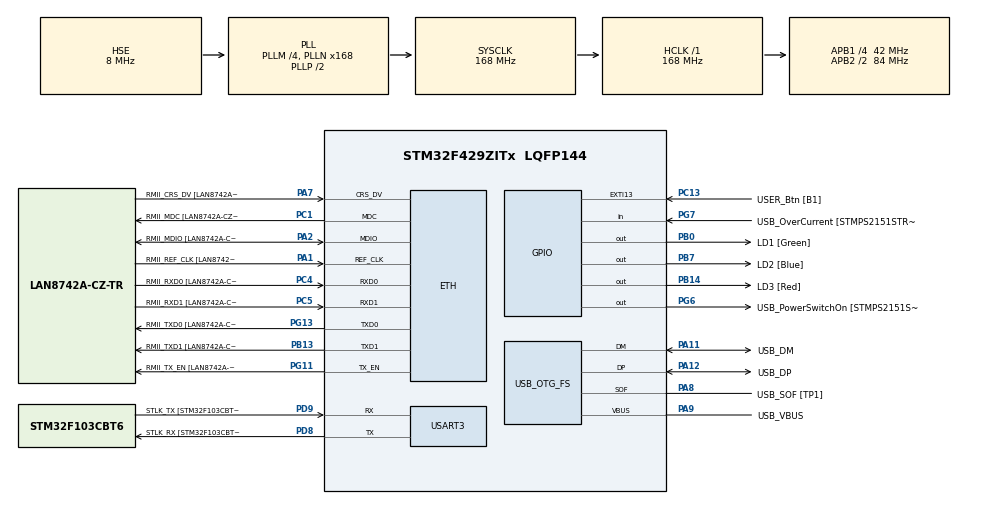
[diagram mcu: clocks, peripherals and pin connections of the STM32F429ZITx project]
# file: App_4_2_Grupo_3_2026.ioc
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ETH.MediaInterface=HAL_ETH_RMII_MODE
ETH.PHY_Name=LAN8742A_PHY_ADDRESS
ETH.PHY_Value=0
ETH.PhyAddress=0
Mcu.Family=STM32F4
Mcu.Name=STM32F429ZITx
Mcu.Package=LQFP144
NVIC.PriorityGroup=NVIC_PRIORITYGROUP_4
PA1.GPIO_Label=RMII_REF_CLK [LAN8742A-CZ-TR_REFCLK0]
PA1.Mode=RMII
PA1.Signal=ETH_REF_CLK
PA10.GPIO_Label=USB_ID
PA10.Signal=USB_OTG_FS_ID
PA11.GPIO_Label=USB_DM
PA11.Mode=Device_Only
PA11.Signal=USB_OTG_FS_DM
PA12.GPIO_Label=USB_DP
PA12.Mode=Device_Only
PA12.Signal=USB_OTG_FS_DP
PA13.GPIO_Label=TMS
PA13.Mode=Serial_Wire
PA13.Signal=SYS_JTMS-SWDIO
PA14.GPIO_Label=TCK
PA14.Mode=Serial_Wire
PA14.Signal=SYS_JTCK-SWCLK
PA2.GPIO_Label=RMII_MDIO [LAN8742A-CZ-TR_MDIO]
PA2.Mode=RMII
PA2.Signal=ETH_MDIO
PA7.GPIO_Label=RMII_CRS_DV [LAN8742A-CZ-TR_CRS_DV]
PA7.Mode=RMII
PA7.Signal=ETH_CRS_DV
PA8.GPIO_Label=USB_SOF [TP1]
PA8.Mode=Activate_SOF_FS
PA8.Signal=USB_OTG_FS_SOF
PA9.GPIO_Label=USB_VBUS
PA9.Mode=Activate_VBUS
PA9.Signal=USB_OTG_FS_VBUS
PB0.GPIO_Label=LD1 [Green]
PB0.Signal=GPIO_Output
PB13.GPIO_Label=RMII_TXD1 [LAN8742A-CZ-TR_TXD1]
PB13.Mode=RMII
PB13.Signal=ETH_TXD1
PB14.GPIO_Label=LD3 [Red]
PB14.Signal=GPIO_Output
PB7.GPIO_Label=LD2 [Blue]
PB7.Signal=GPIO_Output
PC1.GPIO_Label=RMII_MDC [LAN8742A-CZ-TR_MDC]
PC1.Mode=RMII
PC1.Signal=ETH_MDC
PC13.GPIO_Label=USER_Btn [B1]
PC13.Signal=GPXTI13
PC14/OSC32_IN.Mode=LSE-External-Oscillator
PC14/OSC32_IN.Signal=RCC_OSC32_IN
PC15/OSC32_OUT.Mode=LSE-External-Oscillator
PC15/OSC32_OUT.Signal=RCC_OSC32_OUT
PC4.GPIO_Label=RMII_RXD0 [LAN8742A-CZ-TR_RXD0]
PC4.Mode=RMII
PC4.Signal=ETH_RXD0
PC5.GPIO_Label=RMII_RXD1 [LAN8742A-CZ-TR_RXD1]
PC5.Mode=RMII
PC5.Signal=ETH_RXD1
PD8.GPIO_Label=STLK_RX [STM32F103CBT6_PA3]
PD8.Mode=Asynchronous
PD8.Signal=USART3_TX
PD9.GPIO_Label=STLK_TX [STM32F103CBT6_PA2]
PD9.Mode=Asynchronous
PD9.Signal=USART3_RX
PG11.GPIO_Label=RMII_TX_EN [LAN8742A-CZ-TR_TXEN]
PG11.Mode=RMII
PG11.Signal=ETH_TX_EN
PG13.GPIO_Label=RMII_TXD0 [LAN8742A-CZ-TR_TXD0]
PG13.Mode=RMII
PG13.Signal=ETH_TXD0
PG6.GPIO_Label=USB_PowerSwitchOn [STMPS2151STR_EN]
PG6.Signal=GPIO_Output
PG7.GPIO_Label=USB_OverCurrent [STMPS2151STR_FAULT]
PG7.Signal=GPIO_Input
PH0/OSC_IN.GPIO_Label=MCO [STM32F103CBT6_PA8]
PH0/OSC_IN.Mode=HSE-External-Clock-Source
PH0/OSC_IN.Signal=RCC_OSC_IN
PH1/OSC_OUT.Mode=HSE-External-Clock-Source
PH1/OSC_OUT.Signal=RCC_OSC_OUT
ProjectManager.HeapSize=0x200
ProjectManager.StackSize=0x400
ProjectManager.TargetToolchain=STM32CubeIDE
RCC.48MHZClocksFreq_Value=48000000
RCC.AHBFreq_Value=168000000
RCC.APB1CLKDivider=RCC_HCLK_DIV4
RCC.APB1Freq_Value=42000000
RCC.APB1TimFreq_Value=84000000
RCC.APB2CLKDivider=RCC_HCLK_DIV2
RCC.APB2Freq_Value=84000000
RCC.APB2TimCLKDivider=2
RCC.APB2TimFreq_Value=168000000
RCC.CortexFreq_Value=168000000
RCC.HCLKFreq_Value=168000000
RCC.HSE_VALUE=8000000
RCC.HSI_VALUE=16000000
RCC.PLLM=4
RCC.PLLMUL=RCC_PLL_MUL9
RCC.PLLN=168
RCC.PLLQ=7
RCC.PRESCALERUSB=RCC_USBCLKSOURCE_PLL_DIV1_5
RCC.SYSCLKFreq_VALUE=168000000
RCC.SYSCLKSource=RCC_SYSCLKSOURCE_PLLCLK
RCC.SYSCLKSourceVirtual=RCC_SYSCLKSOURCE_PLLCLK
RCC.USBFreq_Value=48000000
RCC.VCOOutputFreq_Value=336000000
USART3.VirtualMode=VM_ASYNC
USB_OTG_FS.VirtualMode=Device_Only
board=NUCLEO-F429ZI

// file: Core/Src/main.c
/* USER CODE BEGIN Header */
/**
  ******************************************************************************
  * @file           : main.c
  * @brief          : Main program body
  ******************************************************************************
  * App_4_2_Grupo_3_2026 - AFP4 - Retardos no bloqueantes (API_delay)
  *
  * Aplicacion (refactor de App_3_2 a no bloqueante): secuencia de encendido de
  * los 3 leds onboard (200 ms encendido, 200 ms apagado). El pulsador de
  * usuario invierte el sentido de la secuencia cada vez que se presiona.
  * Se reemplaza HAL_Delay() por el driver de retardos no bloqueantes API_delay:
  * el lazo principal nunca se detiene, por lo que el pulsador se lee en cada
  * iteracion y responde de inmediato (aun con la secuencia en curso).
  * La gestion del modulo GPIO se realiza exclusivamente con el driver API_GPIO.
  ******************************************************************************
  * @attention
  *
  * Copyright (c) 2026 STMicroelectronics.
  * All rights reserved.
  *
  * This software is licensed under terms that can be found in the LICENSE file
  * in the root directory of this software component.
  * If no LICENSE file comes with this software, it is provided AS-IS.
  *
  ******************************************************************************
  */
/* USER CODE END Header */
#include "main.h"
#include "string.h"
#include "API_GPIO.h"
#include "API_delay.h"

/* USER CODE BEGIN PD */
#define LED_COUNT	3		/* Cantidad de leds del vector: extensible a mas leds */
#define TIEMPO_MS	200		/* Tiempo de encendido y de apagado de cada led [ms] */
/* USER CODE END PD */

ETH_TxPacketConfig TxConfig;
ETH_DMADescTypeDef  DMARxDscrTab[ETH_RX_DESC_CNT]; /* Ethernet Rx DMA Descriptors */
ETH_DMADescTypeDef  DMATxDscrTab[ETH_TX_DESC_CNT]; /* Ethernet Tx DMA Descriptors */

ETH_HandleTypeDef heth;

UART_HandleTypeDef huart3;

PCD_HandleTypeDef hpcd_USB_OTG_FS;

/* USER CODE BEGIN PV */
/* Vector de leds de la placa: con este formato la app queda general y puede
 * extenderse a mas leds con minimas modificaciones (solo agregar elementos) */
led_t leds[LED_COUNT] = {
	{LD1_GPIO_Port, LD1_Pin},
	{LD2_GPIO_Port, LD2_Pin},
	{LD3_GPIO_Port, LD3_Pin}
};

const button_t userButton = {USER_Btn_GPIO_Port, USER_Btn_Pin};

delay_t delaySecuencia;				/* Retardo no bloqueante de la secuencia */
buttonStatus_t botonAnterior = false;	/* Estado anterior del pulsador (para flanco) */
uint8_t indice = 0;						/* Indice del led activo en el vector */
bool ledEncendido = false;				/* Estado de la fase actual: encendido o apagado */
int8_t direccion = 1;					/* 1 = LD1->LD3, -1 = sentido inverso */
/* USER CODE END PV */

void SystemClock_Config(void);
/* El prototipo de MX_GPIO_Init() paso al driver: ver API_GPIO.h */
static void MX_ETH_Init(void);
static void MX_USART3_UART_Init(void);
static void MX_USB_OTG_FS_PCD_Init(void);

int main(void)
{

  /* MCU Configuration--------------------------------------------------------*/

  /* Reset of all peripherals, Initializes the Flash interface and the Systick. */
  HAL_Init();

  /* Configure the system clock */
  SystemClock_Config();

  /* Initialize all configured peripherals */
  MX_GPIO_Init();
  MX_ETH_Init();
  MX_USART3_UART_Init();
  MX_USB_OTG_FS_PCD_Init();
  /* USER CODE BEGIN 2 */
  delayInit(&delaySecuencia, TIEMPO_MS);
  /* USER CODE END 2 */

  /* Infinite loop */
  /* USER CODE BEGIN WHILE */
  while (1)
  {
	  /* Lectura del pulsador en cada iteracion: respuesta inmediata */
	  buttonStatus_t actual = readButton_GPIO(userButton);
	  if (actual && !botonAnterior)
	  {
		  direccion = -direccion;	/* Flanco ascendente: invertir sentido */
	  }
	  botonAnterior = actual;

	  /* Avance de la secuencia cuando el retardo se cumple */
	  if (delayRead(&delaySecuencia))
	  {
		  if (!ledEncendido)
		  {
			  writeLedOn_GPIO(leds[indice]);
			  ledEncendido = true;
		  }
		  else
		  {
			  writeLedOff_GPIO(leds[indice]);
			  ledEncendido = false;
			  indice = (uint8_t)((indice + direccion + LED_COUNT) % LED_COUNT);
		  }
	  }
    /* USER CODE END WHILE */

  }
}

void SystemClock_Config(void)
{
  RCC_OscInitTypeDef RCC_OscInitStruct = {0};
  RCC_ClkInitTypeDef RCC_ClkInitStruct = {0};

  /** Configure the main internal regulator output voltage
  */
  __HAL_RCC_PWR_CLK_ENABLE();
  __HAL_PWR_VOLTAGESCALING_CONFIG(PWR_REGULATOR_VOLTAGE_SCALE1);

  /** Initializes the RCC Oscillators according to the specified parameters
  * in the RCC_OscInitTypeDef structure.
  */
  RCC_OscInitStruct.OscillatorType = RCC_OSCILLATORTYPE_HSE;
  RCC_OscInitStruct.HSEState = RCC_HSE_BYPASS;
  RCC_OscInitStruct.PLL.PLLState = RCC_PLL_ON;
  RCC_OscInitStruct.PLL.PLLSource = RCC_PLLSOURCE_HSE;
  RCC_OscInitStruct.PLL.PLLM = 4;
  RCC_OscInitStruct.PLL.PLLN = 168;
  RCC_OscInitStruct.PLL.PLLP = RCC_PLLP_DIV2;
  RCC_OscInitStruct.PLL.PLLQ = 7;
  if (HAL_RCC_OscConfig(&RCC_OscInitStruct) != HAL_OK)
  {
    Error_Handler();
  }

  /** Initializes the CPU, AHB and APB buses clocks
  */
  RCC_ClkInitStruct.ClockType = RCC_CLOCKTYPE_HCLK|RCC_CLOCKTYPE_SYSCLK
                              |RCC_CLOCKTYPE_PCLK1|RCC_CLOCKTYPE_PCLK2;
  RCC_ClkInitStruct.SYSCLKSource = RCC_SYSCLKSOURCE_PLLCLK;
  RCC_ClkInitStruct.AHBCLKDivider = RCC_SYSCLK_DIV1;
  RCC_ClkInitStruct.APB1CLKDivider = RCC_HCLK_DIV4;
  RCC_ClkInitStruct.APB2CLKDivider = RCC_HCLK_DIV2;

  if (HAL_RCC_ClockConfig(&RCC_ClkInitStruct, FLASH_LATENCY_5) != HAL_OK)
  {
    Error_Handler();
  }
}

static void MX_ETH_Init(void)
{

   static uint8_t MACAddr[6];

  heth.Instance = ETH;
  MACAddr[0] = 0x00;
  MACAddr[1] = 0x80;
  MACAddr[2] = 0xE1;
  MACAddr[3] = 0x00;
  MACAddr[4] = 0x00;
  MACAddr[5] = 0x00;
  heth.Init.MACAddr = &MACAddr[0];
  heth.Init.MediaInterface = HAL_ETH_RMII_MODE;
  heth.Init.TxDesc = DMATxDscrTab;
  heth.Init.RxDesc = DMARxDscrTab;
  heth.Init.RxBuffLen = 1524;

  if (HAL_ETH_Init(&heth) != HAL_OK)
  {
    Error_Handler();
  }

  memset(&TxConfig, 0 , sizeof(ETH_TxPacketConfig));
  TxConfig.Attributes = ETH_TX_PACKETS_FEATURES_CSUM | ETH_TX_PACKETS_FEATURES_CRCPAD;
  TxConfig.ChecksumCtrl = ETH_CHECKSUM_IPHDR_PAYLOAD_INSERT_PHDR_CALC;
  TxConfig.CRCPadCtrl = ETH_CRC_PAD_INSERT;

}

static void MX_USART3_UART_Init(void)
{

  huart3.Instance = USART3;
  huart3.Init.BaudRate = 115200;
  huart3.Init.WordLength = UART_WORDLENGTH_8B;
  huart3.Init.StopBits = UART_STOPBITS_1;
  huart3.Init.Parity = UART_PARITY_NONE;
  huart3.Init.Mode = UART_MODE_TX_RX;
  huart3.Init.HwFlowCtl = UART_HWCONTROL_NONE;
  huart3.Init.OverSampling = UART_OVERSAMPLING_16;
  if (HAL_UART_Init(&huart3) != HAL_OK)
  {
    Error_Handler();
  }

}

static void MX_USB_OTG_FS_PCD_Init(void)
{

  hpcd_USB_OTG_FS.Instance = USB_OTG_FS;
  hpcd_USB_OTG_FS.Init.dev_endpoints = 4;
  hpcd_USB_OTG_FS.Init.speed = PCD_SPEED_FULL;
  hpcd_USB_OTG_FS.Init.dma_enable = DISABLE;
  hpcd_USB_OTG_FS.Init.phy_itface = PCD_PHY_EMBEDDED;
  hpcd_USB_OTG_FS.Init.Sof_enable = ENABLE;
  hpcd_USB_OTG_FS.Init.low_power_enable = DISABLE;
  hpcd_USB_OTG_FS.Init.lpm_enable = DISABLE;
  hpcd_USB_OTG_FS.Init.vbus_sensing_enable = ENABLE;
  hpcd_USB_OTG_FS.Init.use_dedicated_ep1 = DISABLE;
  if (HAL_PCD_Init(&hpcd_USB_OTG_FS) != HAL_OK)
  {
    Error_Handler();
  }

}

void Error_Handler(void)
{
  __disable_irq();
  while (1)
  {
  }
}
